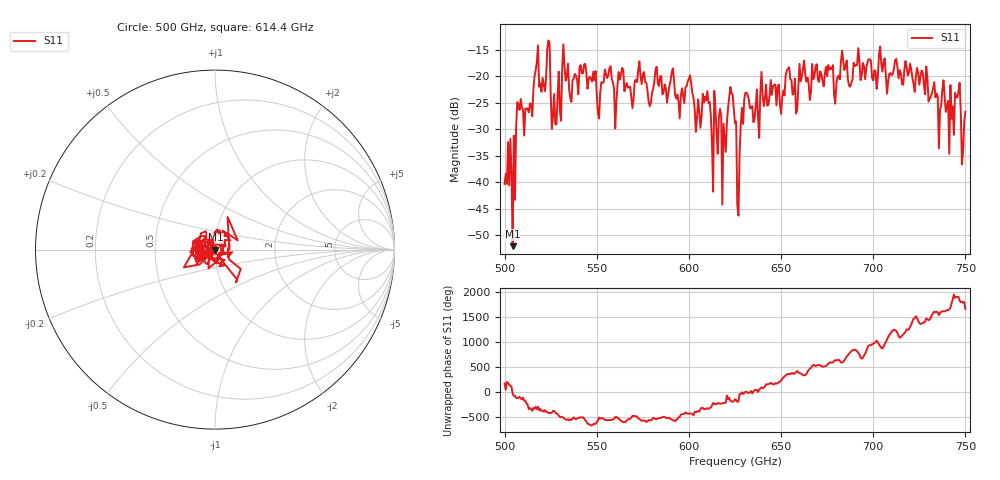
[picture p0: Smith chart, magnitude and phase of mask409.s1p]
!Created with skrf (http://scikit-rf.org).
# GHz S MA R 50.0
!freq magS11 angS11
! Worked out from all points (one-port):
!   401 points, 500 GHz to 750 GHz, reference 50 ohm
!   lowest |S11| = -52.0 dB at 504.4 GHz (marker M1), VSWR 1.01, Z = 50.2 - j0.124 ohm
!   |S11| at or under -10 dB: start of sweep to end of sweep
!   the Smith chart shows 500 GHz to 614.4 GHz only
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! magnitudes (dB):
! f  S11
! 500 GHz  -40.3
! 504.4 GHz  -52.0
! 507.5 GHz  -25.3
! 513.8 GHz  -25.1
! 516.9 GHz  -18.8
! 520.6 GHz  -20.3
! 523.8 GHz  -13.3
! 526.9 GHz  -23.4
! 531.2 GHz  -18.5
! 542.5 GHz  -19.5
! 551.2 GHz  -28.0
! 562.5 GHz  -20.7
! 578.8 GHz  -25.7
! 590.6 GHz  -19.4
! 593.8 GHz  -23.4
! 610 GHz  -22.8
! 611.9 GHz  -27.3
! 619.4 GHz  -31.5
! 623.1 GHz  -23.2
! 625 GHz  -28.8
! 626.9 GHz  -46.3
! 631.2 GHz  -23.1
! 656.2 GHz  -23.5
! 687.5 GHz  -22.0
! 718.8 GHz  -19.9
! 742.5 GHz  -28.1
! 745.6 GHz  -24.0
! 750 GHz  -26.7
